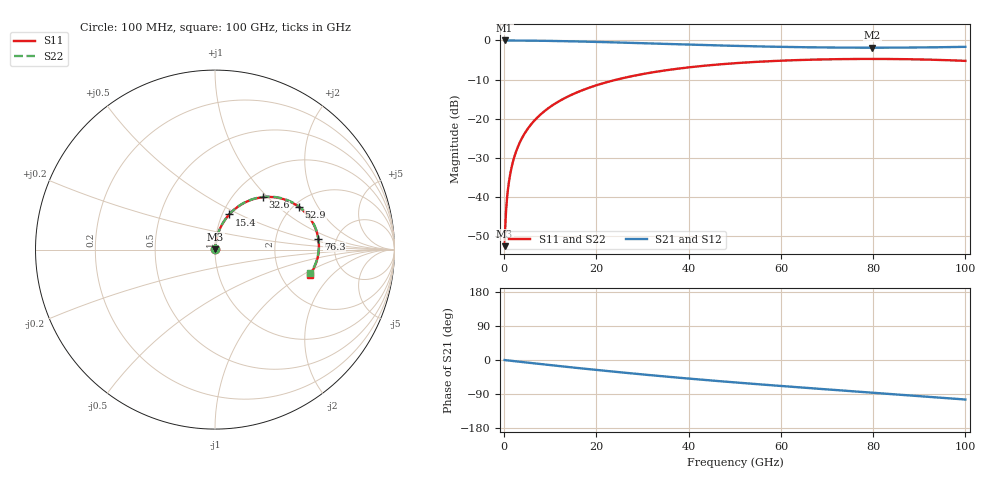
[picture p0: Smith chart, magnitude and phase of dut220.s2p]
! Touchstone file exported from HFSS 2026.1.0
!  File:  C:/ffzhzh/LocalFiles/Ansys_Project_Files/temp_train_RDL_220_1783500995_9504.aedt
!  Generated:  04:57:44 PM Jul  8, 2026
!  Design:  RDL
!  Project:  temp_train_RDL_220_1783500995_9504
! Variables:
!  h_bsmrdl = 2um
!  h_ox = 20um
!  h_rdl = 5um
!  h_sub = 80um
!  h_tmrdl = 3.3um
!  h_tsv = 80um
!  h_via = 3um
!  l_bsmrdl = 300um
!  l_sub = 736.13um
!  l_tmrdl = 336.13um
!  m_sub = 200um
!  pitch = 55.59um
!  r_tsv = 6um
!  s_tmrdl = 10um
!  w_bsmrdl = 18um
!  w_sub = 500um
!  w_tmrdl = 24.31um
!  x_tsv_center1 = 348.285um
!  x_tsv_center2 = 666.285um
!  x_tsv_center3 = 1026.725um
!  x_tsv_center4 = 1344.725um
!  x_tsv_center5 = 1705.165um
!  x_tsv_center6 = 2023.165um
# GHz S MA R 50.000000
! Terminal data exported
! Port[1] = TM_RDL1_1_T1
! Port[2] = TM_RDL1_1_T2
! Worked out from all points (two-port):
!   1000 points, 100 MHz to 100 GHz, reference 50 ohm
!   highest |S21| = -0.01 dB at 100 MHz (marker M1); lowest = -1.9 dB at 79.8 GHz (marker M2)
!   |S21| within 3 dB of the highest: start of sweep to end of sweep
!   lowest |S11| = -52.6 dB at 100 MHz (marker M3), VSWR 1.00, Z = 50.2 + j0.16 ohm
!   |S11| at or under -10 dB: start of sweep to 24.48 GHz
!   |S22| runs from -52.6 to -4.7 dB; largest |S21 - S12| = 1.4e-14
!   S11 on the Smith chart (normalised r, x): 100 MHz: 1.00, +0.00; 15.4 GHz: 1.08, +0.44; 32.6 GHz: 1.35, +0.93; 52.9 GHz: 2.13, +1.40; 76.3 GHz: 3.62, +0.66; 100 GHz: 2.89, -1.17
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0.1  0.00234 42.8  0.9983 -0.1  0.9983 -0.1  0.00234 42.8
! Gamma 0 0 0 0
! Port Impedance 50 0 50 0
0.8  0.01211 78.7  0.9978 -1.1  0.9978 -1.1  0.01211 78.8
1.1  0.01641 80.8  0.9977 -1.5  0.9977 -1.5  0.01641 80.8
1.4  0.02074 81.8  0.9975 -1.9  0.9975 -1.9  0.02074 81.9
1.9  0.02798 82.6  0.9973 -2.6  0.9973 -2.6  0.02798 82.6
2.4  0.03522 82.7  0.9969 -3.3  0.9969 -3.3  0.03522 82.7
3.7  0.05397 82.0  0.9958 -5.1  0.9958 -5.1  0.05397 82.0
5.7  0.08242 79.9  0.9932 -7.8  0.9932 -7.8  0.08242 79.9
8.2  0.1172 76.8  0.989 -11.1  0.989 -11.1  0.1172 76.9
11.4  0.1602 72.9  0.982 -15.3  0.982 -15.3  0.1602 73.0
15.4  0.2115 67.9  0.9714 -20.4  0.9714 -20.4  0.2115 68.0
16.8  0.2288 66.2  0.9673 -22.2  0.9673 -22.2  0.2288 66.3
23.9  0.3101 57.7  0.9436 -30.9  0.9436 -30.9  0.3101 57.9
32.6  0.3941 47.7  0.9113 -41.0  0.9113 -41.0  0.3941 48.0
33.4  0.4009 46.9  0.9083 -41.9  0.9083 -41.9  0.4009 47.2
50.1  0.5112 29.7  0.8513 -59.2  0.8513 -59.2  0.5112 30.2
52.9  0.5241 27.1  0.8435 -61.9  0.8435 -61.9  0.5241 27.5
66.7  0.5671 14.4  0.8156 -74.6  0.8156 -74.6  0.5671 15.1
76.3  0.5788 6.0  0.8073 -83.1  0.8073 -83.1  0.5788 6.7
79.8  0.5796 3.0  0.8067 -86.2  0.8067 -86.2  0.5796 3.7
83.4  0.5785 -0.2  0.8073 -89.3  0.8073 -89.3  0.5785 0.6
100  0.5472 -15.0  0.8276 -104.3  0.8276 -104.3  0.5473 -14.0
